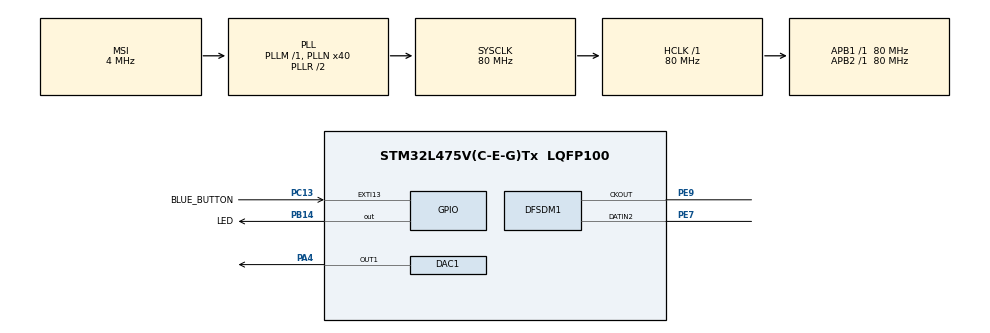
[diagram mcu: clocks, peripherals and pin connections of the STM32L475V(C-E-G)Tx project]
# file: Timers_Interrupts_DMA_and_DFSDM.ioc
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DAC1.DAC_SampleAndHold-DAC_OUT1=DAC_SAMPLEANDHOLD_DISABLE
DAC1.DAC_Trigger-DAC_OUT1=DAC_TRIGGER_T2_TRGO
DFSDM1.Divider=40
DFSDM1.DmaMode_reg_FIL0=ENABLE
DFSDM1.FastMode_reg_FIL0=ENABLE
DFSDM1.Filter_regChannel_FIL0=DFSDM_CHANNEL_2
DFSDM1.Fosr_FIL0=250
DFSDM1.SincOrder_FIL0=DFSDM_FILTER_SINC3_ORDER
Dma.DAC_CH1.0.Direction=DMA_MEMORY_TO_PERIPH
Dma.DAC_CH1.0.Instance=DMA1_Channel3
Dma.DAC_CH1.0.MemDataAlignment=DMA_MDATAALIGN_WORD
Dma.DAC_CH1.0.MemInc=DMA_MINC_ENABLE
Dma.DAC_CH1.0.Mode=DMA_CIRCULAR
Dma.DAC_CH1.0.PeriphDataAlignment=DMA_PDATAALIGN_WORD
Dma.DAC_CH1.0.PeriphInc=DMA_PINC_DISABLE
Dma.DAC_CH1.0.Priority=DMA_PRIORITY_HIGH
Dma.DFSDM1_FLT0.1.Direction=DMA_PERIPH_TO_MEMORY
Dma.DFSDM1_FLT0.1.Instance=DMA1_Channel4
Dma.DFSDM1_FLT0.1.MemDataAlignment=DMA_MDATAALIGN_WORD
Dma.DFSDM1_FLT0.1.MemInc=DMA_MINC_ENABLE
Dma.DFSDM1_FLT0.1.Mode=DMA_NORMAL
Dma.DFSDM1_FLT0.1.PeriphDataAlignment=DMA_PDATAALIGN_WORD
Dma.DFSDM1_FLT0.1.PeriphInc=DMA_PINC_DISABLE
Dma.DFSDM1_FLT0.1.Priority=DMA_PRIORITY_LOW
Dma.Request0=DAC_CH1
Dma.Request1=DFSDM1_FLT0
Mcu.Family=STM32L4
Mcu.Name=STM32L475V(C-E-G)Tx
Mcu.Package=LQFP100
NVIC.DMA1_Channel3_IRQn=true\:0\:0\:false\:false\:true\:false\:true\:true
NVIC.DMA1_Channel4_IRQn=true\:0\:0\:false\:false\:true\:false\:true\:true
NVIC.EXTI15_10_IRQn=true\:0\:0\:false\:false\:true\:true\:true\:true
NVIC.PriorityGroup=NVIC_PRIORITYGROUP_4
NVIC.TIM2_IRQn=true\:0\:0\:false\:false\:true\:true\:true\:true
NVIC.TIM3_IRQn=true\:0\:0\:false\:false\:true\:true\:true\:true
NVIC.TIM4_IRQn=true\:0\:0\:false\:false\:true\:true\:true\:true
PA4.Signal=COMP_DAC11_group
PB14.GPIO_Label=LED
PB14.Signal=GPIO_Output
PC13.GPIO_Label=BLUE_BUTTON
PC13.Signal=GPXTI13
PE7.Signal=S_DATAIN2DFSDM1
PE9.Signal=S_CKOUTDFSDM1
ProjectManager.HeapSize=0x200
ProjectManager.StackSize=0x400
ProjectManager.TargetToolchain=STM32CubeIDE
RCC.ADCFreq_Value=48000000
RCC.AHBFreq_Value=80000000
RCC.APB1Freq_Value=80000000
RCC.APB1TimFreq_Value=80000000
RCC.APB2Freq_Value=80000000
RCC.APB2TimCLKDivider=1
RCC.APB2TimFreq_Value=80000000
RCC.CortexFreq_Value=80000000
RCC.HCLKFreq_Value=80000000
RCC.HSE_VALUE=8000000
RCC.HSI_VALUE=16000000
RCC.LSE_VALUE=32768
RCC.MSI_VALUE=4000000
RCC.PLLN=40
RCC.PLLSAI1N=24
RCC.SYSCLKFreq_VALUE=80000000
RCC.SYSCLKSource=RCC_SYSCLKSOURCE_PLLCLK
RCC.USBFreq_Value=48000000
RCC.VCOOutputFreq_Value=160000000
SH.COMP_DAC11_group.0=DAC1_OUT1,DAC_OUT1
SH.S_CKOUTDFSDM1.0=DFSDM1_CKOUT,PDM_SPI_input_from_ch2_and_internal_clock
SH.S_CKOUTDFSDM1.1=DFSDM1_CKOUT,CKOUT
SH.S_DATAIN2DFSDM1.0=DFSDM1_DATIN2,PDM_SPI_input_from_ch2_and_internal_clock
TIM2.Period=80
TIM2.Prescaler=125
TIM2.TIM_MasterOutputTrigger=TIM_TRGO_UPDATE
TIM3.Period=1000
TIM3.Prescaler=40000
TIM4.Period=1000
TIM4.Prescaler=40000
VP_TIM2_VS_ClockSourceINT.Mode=Internal
VP_TIM3_VS_ClockSourceINT.Mode=Internal
VP_TIM4_VS_ClockSourceINT.Mode=Internal
board=B-L475E-IOT01A2

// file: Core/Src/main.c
/* USER CODE BEGIN Header */
/**
  ******************************************************************************
  * @file           : main.c
  * @brief          : Main program body
  ******************************************************************************
  * @attention
  *
  * Copyright (c) 2023 STMicroelectronics.
  * All rights reserved.
  *
  * This software is licensed under terms that can be found in the LICENSE file
  * in the root directory of this software component.
  * If no LICENSE file comes with this software, it is provided AS-IS.
  *
  ******************************************************************************
  */
/* USER CODE END Header */
#include "main.h"

/* USER CODE BEGIN PD */
// NOTE: that the sampling frequency is 8000Hz and is performed by TIM2 with prescaler=125 and counter=80
#define SIN_NUM_SAMPLES 16 // only affects the generated sin wave so no need to increase this number
#define MAX_DAC_ALIGN_8B 170 // 2/3 of possible dynamic range 2^8 = 256
#define MAX_DAC_ALIGN_12B 2730 // 2/3 of possible dynamic range 2^12 = 4096
#define MAX_AMPLITUDE_OF_SHIFTED_SIN 2 // use in cross product to scale a unitary sin wave to one that has a peak of the max dac
//#define AUDIO_BUFFER_SIZE 24000 // 8000samples/sec * 3sec = 24000samples
#define RECORDING_BUFFER_SIZE 1000
#define PLAYBACK_BUFFER_SIZE RECORDING_BUFFER_SIZE * 48

// Frequency Constants
#define C7 2093
#define B6 1975
#define Ab6 1661
#define G6 1567
#define E6 1318
#define Eb6 1244

/* USER CODE END PD */

DAC_HandleTypeDef hdac1;
DMA_HandleTypeDef hdma_dac_ch1;

DFSDM_Filter_HandleTypeDef hdfsdm1_filter0;
DFSDM_Channel_HandleTypeDef hdfsdm1_channel2;
DMA_HandleTypeDef hdma_dfsdm1_flt0;

TIM_HandleTypeDef htim2;
TIM_HandleTypeDef htim3;
TIM_HandleTypeDef htim4;

/* USER CODE BEGIN PV */
uint32_t sinArray[SIN_NUM_SAMPLES];
//volatile int32_t audioBuffer[AUDIO_BUFFER_SIZE];
uint32_t playbackBufferOffset = 0;
uint32_t recordingBuffer[RECORDING_BUFFER_SIZE];
uint8_t playbackBuffer[PLAYBACK_BUFFER_SIZE];
uint32_t systemClkFrequency; // used to store value 80MHz, so we don't call function multiple times

// Polling Frequencies
uint32_t prescalerC7; // polling frequency of C7 or 2093Hz
uint32_t prescalerB6;
uint32_t prescalerAb6;
uint32_t prescalerG6;
uint32_t prescalerE6;
uint32_t prescalerEb6;
uint32_t prescalerMicrophone; // polling frequency of our microphone

enum Notes
{
	noteC7,
	noteB6,
	noteAb6,
	noteG6,
	noteE6,
	noteEb6
};

enum LED
{
	OFF,
	BLINKING,
	ON
};

enum ProgramStates
{
	WAIT_FOR_RECORDING,
	RECORDING,
	POST_PROCESSING,
	WAIT_FOR_PLAYBACK,
	PLAY_NOTES,
	PLAYBACK
};

enum Notes currentNote;
enum LED stateLED = OFF;
enum ProgramStates programState = WAIT_FOR_RECORDING;

/* USER CODE END PV */

void SystemClock_Config(void);
static void MX_GPIO_Init(void);
static void MX_DMA_Init(void);
static void MX_DAC1_Init(void);
static void MX_TIM2_Init(void);
static void MX_DFSDM1_Init(void);
static void MX_TIM3_Init(void);
static void MX_TIM4_Init(void);

int main(void)
{

  /* MCU Configuration--------------------------------------------------------*/

  /* Reset of all peripherals, Initializes the Flash interface and the Systick. */
  HAL_Init();

  /* Configure the system clock */
  SystemClock_Config();

  /* Initialize all configured peripherals */
  MX_GPIO_Init();
  MX_DMA_Init();
  MX_DAC1_Init();
  MX_TIM2_Init();
  MX_DFSDM1_Init();
  MX_TIM3_Init();
  MX_TIM4_Init();
  /* USER CODE BEGIN 2 */

  // Generate sinusoidal wave table
  float32_t sinValue = 0;
  // Creating samples for sine wave
  for (uint32_t sample=0; sample<SIN_NUM_SAMPLES; sample++)
  {
	  sinValue = arm_sin_f32(2*PI/SIN_NUM_SAMPLES*sample);
	  sinValue += 1.0; // shift function into positive x (range of sin function is MAX_AMPLITUDE_OF_SHIFTED_SIN = 2)
	  // Using 8 bit so 256 DAC (don't want to go over 2/3 of DAC because it creates clipping so use 170)
	  // We have sin function amplitude of 2 maximum and we want to scale it to be over 170 bit
	  sinValue = sinValue / MAX_AMPLITUDE_OF_SHIFTED_SIN * MAX_DAC_ALIGN_8B; // making the waveform the loudest that it can be on DAC without clipping
	  sinArray[sample] = (uint32_t)sinValue;
  }

  // Calculate prescaler values for each note - how fast we will output samples
  systemClkFrequency = HAL_RCC_GetSysClockFreq();

  // period * system_clock = prescaler * counter
  // system_clock / note_frequency = prescaler * counter
  // Multiply by SIN_NUM_SAMPLES to output at every sample with the frequency, not the full length period
  prescalerC7 = systemClkFrequency / ((htim2.Instance->ARR) * C7 * SIN_NUM_SAMPLES);
  prescalerB6 = systemClkFrequency / ((htim2.Instance->ARR) * B6 * SIN_NUM_SAMPLES);
  prescalerAb6 = systemClkFrequency / ((htim2.Instance->ARR) * Ab6 * SIN_NUM_SAMPLES);
  prescalerG6 = systemClkFrequency / ((htim2.Instance->ARR) * G6 * SIN_NUM_SAMPLES);
  prescalerE6 = systemClkFrequency / ((htim2.Instance->ARR) * E6 * SIN_NUM_SAMPLES);
  prescalerEb6 = systemClkFrequency / ((htim2.Instance->ARR) * Eb6 * SIN_NUM_SAMPLES);
  prescalerMicrophone = htim2.Instance->PSC;

  /* USER CODE END 2 */

  /* Infinite loop */
  /* USER CODE BEGIN WHILE */
  HAL_TIM_Base_Start(&htim2);
  HAL_TIM_Base_Start_IT(&htim3);
  while (1)
  {
    /* USER CODE END WHILE */

    /* USER CODE BEGIN 3 */
	 if (programState==POST_PROCESSING)
	 {
		 for (uint32_t i=0; i<RECORDING_BUFFER_SIZE; i++)
		 {
			recordingBuffer[i] = (uint32_t)recordingBuffer[i] >> 8; // remove channel information from 24-bit DFSDM output (cast to uint32_t because its supposed to stay positive after shift)
			recordingBuffer[i] = recordingBuffer[i] * MAX_DAC_ALIGN_8B; // scale value from microphone to the scale DAC can output
			recordingBuffer[i] = (uint32_t)recordingBuffer[i] >> 24; // its like dividing by 2^24
			playbackBuffer[playbackBufferOffset+i] = (uint8_t)recordingBuffer[i];
		 }
		 playbackBufferOffset += RECORDING_BUFFER_SIZE;
		 if (playbackBufferOffset==PLAYBACK_BUFFER_SIZE)
		 {
			 programState = WAIT_FOR_PLAYBACK;
			 stateLED = OFF;
		 }
		 else
		 {
			 programState = RECORDING; // stateLED = BLINKING;
			 HAL_DFSDM_FilterRegularStart_DMA(&hdfsdm1_filter0, (int32_t*)recordingBuffer, (uint32_t)RECORDING_BUFFER_SIZE);
		 }

	 }
  }
  /* USER CODE END 3 */
}

void SystemClock_Config(void)
{
  RCC_OscInitTypeDef RCC_OscInitStruct = {0};
  RCC_ClkInitTypeDef RCC_ClkInitStruct = {0};

  /** Configure the main internal regulator output voltage
  */
  if (HAL_PWREx_ControlVoltageScaling(PWR_REGULATOR_VOLTAGE_SCALE1) != HAL_OK)
  {
    Error_Handler();
  }

  /** Initializes the RCC Oscillators according to the specified parameters
  * in the RCC_OscInitTypeDef structure.
  */
  RCC_OscInitStruct.OscillatorType = RCC_OSCILLATORTYPE_MSI;
  RCC_OscInitStruct.MSIState = RCC_MSI_ON;
  RCC_OscInitStruct.MSICalibrationValue = 0;
  RCC_OscInitStruct.MSIClockRange = RCC_MSIRANGE_6;
  RCC_OscInitStruct.PLL.PLLState = RCC_PLL_ON;
  RCC_OscInitStruct.PLL.PLLSource = RCC_PLLSOURCE_MSI;
  RCC_OscInitStruct.PLL.PLLM = 1;
  RCC_OscInitStruct.PLL.PLLN = 40;
  RCC_OscInitStruct.PLL.PLLP = RCC_PLLP_DIV7;
  RCC_OscInitStruct.PLL.PLLQ = RCC_PLLQ_DIV2;
  RCC_OscInitStruct.PLL.PLLR = RCC_PLLR_DIV2;
  if (HAL_RCC_OscConfig(&RCC_OscInitStruct) != HAL_OK)
  {
    Error_Handler();
  }

  /** Initializes the CPU, AHB and APB buses clocks
  */
  RCC_ClkInitStruct.ClockType = RCC_CLOCKTYPE_HCLK|RCC_CLOCKTYPE_SYSCLK
                              |RCC_CLOCKTYPE_PCLK1|RCC_CLOCKTYPE_PCLK2;
  RCC_ClkInitStruct.SYSCLKSource = RCC_SYSCLKSOURCE_PLLCLK;
  RCC_ClkInitStruct.AHBCLKDivider = RCC_SYSCLK_DIV1;
  RCC_ClkInitStruct.APB1CLKDivider = RCC_HCLK_DIV1;
  RCC_ClkInitStruct.APB2CLKDivider = RCC_HCLK_DIV1;

  if (HAL_RCC_ClockConfig(&RCC_ClkInitStruct, FLASH_LATENCY_4) != HAL_OK)
  {
    Error_Handler();
  }
}

static void MX_DAC1_Init(void)
{

  DAC_ChannelConfTypeDef sConfig = {0};

  /** DAC Initialization
  */
  hdac1.Instance = DAC1;
  if (HAL_DAC_Init(&hdac1) != HAL_OK)
  {
    Error_Handler();
  }

  /** DAC channel OUT1 config
  */
  sConfig.DAC_SampleAndHold = DAC_SAMPLEANDHOLD_DISABLE;
  sConfig.DAC_Trigger = DAC_TRIGGER_T2_TRGO;
  sConfig.DAC_OutputBuffer = DAC_OUTPUTBUFFER_ENABLE;
  sConfig.DAC_ConnectOnChipPeripheral = DAC_CHIPCONNECT_DISABLE;
  sConfig.DAC_UserTrimming = DAC_TRIMMING_FACTORY;
  if (HAL_DAC_ConfigChannel(&hdac1, &sConfig, DAC_CHANNEL_1) != HAL_OK)
  {
    Error_Handler();
  }

}

static void MX_DFSDM1_Init(void)
{

  hdfsdm1_filter0.Instance = DFSDM1_Filter0;
  hdfsdm1_filter0.Init.RegularParam.Trigger = DFSDM_FILTER_SW_TRIGGER;
  hdfsdm1_filter0.Init.RegularParam.FastMode = ENABLE;
  hdfsdm1_filter0.Init.RegularParam.DmaMode = ENABLE;
  hdfsdm1_filter0.Init.FilterParam.SincOrder = DFSDM_FILTER_SINC3_ORDER;
  hdfsdm1_filter0.Init.FilterParam.Oversampling = 250;
  hdfsdm1_filter0.Init.FilterParam.IntOversampling = 1;
  if (HAL_DFSDM_FilterInit(&hdfsdm1_filter0) != HAL_OK)
  {
    Error_Handler();
  }
  hdfsdm1_channel2.Instance = DFSDM1_Channel2;
  hdfsdm1_channel2.Init.OutputClock.Activation = ENABLE;
  hdfsdm1_channel2.Init.OutputClock.Selection = DFSDM_CHANNEL_OUTPUT_CLOCK_SYSTEM;
  hdfsdm1_channel2.Init.OutputClock.Divider = 40;
  hdfsdm1_channel2.Init.Input.Multiplexer = DFSDM_CHANNEL_EXTERNAL_INPUTS;
  hdfsdm1_channel2.Init.Input.DataPacking = DFSDM_CHANNEL_STANDARD_MODE;
  hdfsdm1_channel2.Init.Input.Pins = DFSDM_CHANNEL_SAME_CHANNEL_PINS;
  hdfsdm1_channel2.Init.SerialInterface.Type = DFSDM_CHANNEL_SPI_RISING;
  hdfsdm1_channel2.Init.SerialInterface.SpiClock = DFSDM_CHANNEL_SPI_CLOCK_INTERNAL;
  hdfsdm1_channel2.Init.Awd.FilterOrder = DFSDM_CHANNEL_FASTSINC_ORDER;
  hdfsdm1_channel2.Init.Awd.Oversampling = 1;
  hdfsdm1_channel2.Init.Offset = 0;
  hdfsdm1_channel2.Init.RightBitShift = 0x00;
  if (HAL_DFSDM_ChannelInit(&hdfsdm1_channel2) != HAL_OK)
  {
    Error_Handler();
  }
  if (HAL_DFSDM_FilterConfigRegChannel(&hdfsdm1_filter0, DFSDM_CHANNEL_2, DFSDM_CONTINUOUS_CONV_ON) != HAL_OK)
  {
    Error_Handler();
  }

}

static void MX_TIM2_Init(void)
{

  TIM_ClockConfigTypeDef sClockSourceConfig = {0};
  TIM_MasterConfigTypeDef sMasterConfig = {0};

  htim2.Instance = TIM2;
  htim2.Init.Prescaler = 125;
  htim2.Init.CounterMode = TIM_COUNTERMODE_UP;
  htim2.Init.Period = 80;
  htim2.Init.ClockDivision = TIM_CLOCKDIVISION_DIV1;
  htim2.Init.AutoReloadPreload = TIM_AUTORELOAD_PRELOAD_DISABLE;
  if (HAL_TIM_Base_Init(&htim2) != HAL_OK)
  {
    Error_Handler();
  }
  sClockSourceConfig.ClockSource = TIM_CLOCKSOURCE_INTERNAL;
  if (HAL_TIM_ConfigClockSource(&htim2, &sClockSourceConfig) != HAL_OK)
  {
    Error_Handler();
  }
  sMasterConfig.MasterOutputTrigger = TIM_TRGO_UPDATE;
  sMasterConfig.MasterSlaveMode = TIM_MASTERSLAVEMODE_DISABLE;
  if (HAL_TIMEx_MasterConfigSynchronization(&htim2, &sMasterConfig) != HAL_OK)
  {
    Error_Handler();
  }

}

static void MX_TIM3_Init(void)
{

  TIM_ClockConfigTypeDef sClockSourceConfig = {0};
  TIM_MasterConfigTypeDef sMasterConfig = {0};

  htim3.Instance = TIM3;
  htim3.Init.Prescaler = 40000;
  htim3.Init.CounterMode = TIM_COUNTERMODE_UP;
  htim3.Init.Period = 1000;
  htim3.Init.ClockDivision = TIM_CLOCKDIVISION_DIV1;
  htim3.Init.AutoReloadPreload = TIM_AUTORELOAD_PRELOAD_DISABLE;
  if (HAL_TIM_Base_Init(&htim3) != HAL_OK)
  {
    Error_Handler();
  }
  sClockSourceConfig.ClockSource = TIM_CLOCKSOURCE_INTERNAL;
  if (HAL_TIM_ConfigClockSource(&htim3, &sClockSourceConfig) != HAL_OK)
  {
    Error_Handler();
  }
  sMasterConfig.MasterOutputTrigger = TIM_TRGO_RESET;
  sMasterConfig.MasterSlaveMode = TIM_MASTERSLAVEMODE_DISABLE;
  if (HAL_TIMEx_MasterConfigSynchronization(&htim3, &sMasterConfig) != HAL_OK)
  {
    Error_Handler();
  }

}

static void MX_TIM4_Init(void)
{

  TIM_ClockConfigTypeDef sClockSourceConfig = {0};
  TIM_MasterConfigTypeDef sMasterConfig = {0};

  htim4.Instance = TIM4;
  htim4.Init.Prescaler = 40000;
  htim4.Init.CounterMode = TIM_COUNTERMODE_UP;
  htim4.Init.Period = 1000;
  htim4.Init.ClockDivision = TIM_CLOCKDIVISION_DIV1;
  htim4.Init.AutoReloadPreload = TIM_AUTORELOAD_PRELOAD_DISABLE;
  if (HAL_TIM_Base_Init(&htim4) != HAL_OK)
  {
    Error_Handler();
  }
  sClockSourceConfig.ClockSource = TIM_CLOCKSOURCE_INTERNAL;
  if (HAL_TIM_ConfigClockSource(&htim4, &sClockSourceConfig) != HAL_OK)
  {
    Error_Handler();
  }
  sMasterConfig.MasterOutputTrigger = TIM_TRGO_RESET;
  sMasterConfig.MasterSlaveMode = TIM_MASTERSLAVEMODE_DISABLE;
  if (HAL_TIMEx_MasterConfigSynchronization(&htim4, &sMasterConfig) != HAL_OK)
  {
    Error_Handler();
  }

}

static void MX_DMA_Init(void)
{

  /* DMA controller clock enable */
  __HAL_RCC_DMA1_CLK_ENABLE();

  /* DMA interrupt init */
  /* DMA1_Channel3_IRQn interrupt configuration */
  HAL_NVIC_SetPriority(DMA1_Channel3_IRQn, 0, 0);
  HAL_NVIC_EnableIRQ(DMA1_Channel3_IRQn);
  /* DMA1_Channel4_IRQn interrupt configuration */
  HAL_NVIC_SetPriority(DMA1_Channel4_IRQn, 0, 0);
  HAL_NVIC_EnableIRQ(DMA1_Channel4_IRQn);

}

static void MX_GPIO_Init(void)
{
  GPIO_InitTypeDef GPIO_InitStruct = {0};

  /* GPIO Ports Clock Enable */
  __HAL_RCC_GPIOC_CLK_ENABLE();
  __HAL_RCC_GPIOA_CLK_ENABLE();
  __HAL_RCC_GPIOE_CLK_ENABLE();
  __HAL_RCC_GPIOB_CLK_ENABLE();

  /*Configure GPIO pin Output Level */
  HAL_GPIO_WritePin(LED_GPIO_Port, LED_Pin, GPIO_PIN_RESET);

  /*Configure GPIO pin : BLUE_BUTTON_Pin */
  GPIO_InitStruct.Pin = BLUE_BUTTON_Pin;
  GPIO_InitStruct.Mode = GPIO_MODE_IT_RISING;
  GPIO_InitStruct.Pull = GPIO_NOPULL;
  HAL_GPIO_Init(BLUE_BUTTON_GPIO_Port, &GPIO_InitStruct);

  /*Configure GPIO pin : LED_Pin */
  GPIO_InitStruct.Pin = LED_Pin;
  GPIO_InitStruct.Mode = GPIO_MODE_OUTPUT_PP;
  GPIO_InitStruct.Pull = GPIO_NOPULL;
  GPIO_InitStruct.Speed = GPIO_SPEED_FREQ_LOW;
  HAL_GPIO_Init(LED_GPIO_Port, &GPIO_InitStruct);

  /* EXTI interrupt init*/
  HAL_NVIC_SetPriority(EXTI15_10_IRQn, 0, 0);
  HAL_NVIC_EnableIRQ(EXTI15_10_IRQn);

}

/* USER CODE BEGIN 4 */
/**
 * @overwrite
 * @brief interrupt service routine for GPIO
 */
void HAL_GPIO_EXTI_Callback(uint16_t GPIO_Pin)
{
	// Making sure the interrupt was caused by the PC13 or the BLUE_BUTTON
	if (GPIO_Pin==BLUE_BUTTON_Pin)
	{
		switch(programState)
		{
			case PLAY_NOTES:
				// TIM4 is used to control the note playback
				HAL_TIM_Base_Stop_IT(&htim4);
				HAL_TIM_Base_DeInit(&htim4); // de-initialize the timer so that if its interrupted during note playback, it's reset
			case PLAYBACK:
				HAL_DAC_Stop_DMA(&hdac1, DAC_CHANNEL_1);
			case WAIT_FOR_RECORDING:
				programState = RECORDING;
				stateLED = BLINKING;
				playbackBufferOffset = 0;
				// DAC_CH1 should be set to Normal so that DAC is stopped when its finished READING the recording buffer
				HAL_DFSDM_FilterRegularStart_DMA(&hdfsdm1_filter0, (int32_t*)recordingBuffer, (uint32_t)RECORDING_BUFFER_SIZE);
				break;
			case WAIT_FOR_PLAYBACK:
				programState = PLAY_NOTES;
				stateLED = ON;
				currentNote = noteC7;
				htim2.Instance->PSC = prescalerC7;
				HAL_TIM_Base_Init(&htim4); // bc we de-initialized it during a PLAY_NOTES interrupt, we need to re-initialize
				HAL_TIM_Base_Start_IT(&htim4); // start interrupt
				HAL_DAC_Start_DMA(&hdac1, DAC_CHANNEL_1, (uint32_t*)sinArray, (uint32_t)SIN_NUM_SAMPLES, DAC_ALIGN_8B_R); // start writing DAC with samples
				break;
			default:
				break;
		}
	}

}

/**
 * @overwrite
 * @brief interrupt service routine for timers
 */
void HAL_TIM_PeriodElapsedCallback(TIM_HandleTypeDef *htim) {
	// SOFTWARE INTERRUPTS SHOULD BE AS SHORT AS POSSIBLE!!!!!!!!!!!!!

	// TIM3 is used to control the LED
	if (htim==&htim3) // ISR for TIM3
	{
		switch(stateLED)
		{
			case OFF:
				HAL_GPIO_WritePin(LED_GPIO_Port, LED_Pin, GPIO_PIN_RESET);
				break;
			case BLINKING:
				HAL_GPIO_TogglePin(LED_GPIO_Port, LED_Pin); // blinks every 0.5 seconds
				break;
			case ON:
				HAL_GPIO_WritePin(LED_GPIO_Port, LED_Pin, GPIO_PIN_SET);
				break;
		}
	} // TIM4 is used to control the note playback
	else if (htim==&htim4)
	{
		switch(currentNote)
		{
			case noteC7:
				currentNote = noteB6;
				htim2.Instance->PSC = prescalerB6;
				break;
			case noteB6:
				currentNote = noteAb6;
				htim2.Instance->PSC = prescalerAb6;
				break;
			case noteAb6:
				currentNote = noteG6;
				htim2.Instance->PSC = prescalerG6;
				break;
			case noteG6:
				currentNote = noteE6;
				htim2.Instance->PSC = prescalerE6;
				break;
			case noteE6:
				currentNote = noteEb6;
				htim2.Instance->PSC = prescalerEb6;
				break;
			case noteEb6:
				htim2.Instance->PSC = prescalerMicrophone;
				HAL_DAC_Stop_DMA(&hdac1, DAC_CHANNEL_1);
				HAL_TIM_Base_Stop_IT(&htim4);
				// DFSDM_FLT0 should be set to Normal so that DFSDM is stopped when its finished WRITING the recording buffer
				HAL_DAC_Start_DMA(&hdac1, DAC_CHANNEL_1, (uint32_t*)playbackBuffer, (uint32_t)PLAYBACK_BUFFER_SIZE, DAC_ALIGN_8B_R);
				programState = PLAYBACK; // play the recorded sample now and set stateLED = ON;
				break;
		}
	}
}

void HAL_DAC_ConvCpltCallbackCh1(DAC_HandleTypeDef *hdac)
{
	// SOFTWARE INTERRUPTS SHOULD BE AS SHORT AS POSSIBLE!!!!!!!!!!!!!
	// Playing the recorded sample
	if (programState==PLAYBACK)
	{
		HAL_DAC_Stop_DMA(&hdac1, DAC_CHANNEL_1);
		programState = WAIT_FOR_RECORDING; // when finished playback the ISR is done and so go to new state
		stateLED = OFF;
	}
}

void HAL_DFSDM_FilterRegConvCpltCallback(DFSDM_Filter_HandleTypeDef *hdfsdm_filter)
{
	// SOFTWARE INTERRUPTS SHOULD BE AS SHORT AS POSSIBLE!!!!!!!!!!!!!
	// ISR for filling buffer during recording
	/*
	 * Instead of doing post-processing in the interrupt we have a flag to do it in main program.
	 * ISR should be as short as possible so as to not stall the other ISR's in the program. By having a
	 * long ISR, you may miss loss some information on some buffer in other hardware components.
	 * Ex. WIFI buffer is also filling but if you are not done yet servicing another interrupt you will
	 * 	   not be able to issue the WIFI interrupt to deal with full buffer so packets trying to fill the WIFI
	 * 	   buffer will be dropped until you clear.
	 */
	HAL_DFSDM_FilterRegularStop_DMA(&hdfsdm1_filter0);
	programState = POST_PROCESSING; // the stateLED in this state is still BLINKING
}

/* USER CODE END 4 */

void Error_Handler(void)
{
  __disable_irq();
  while (1)
  {
  }
}
